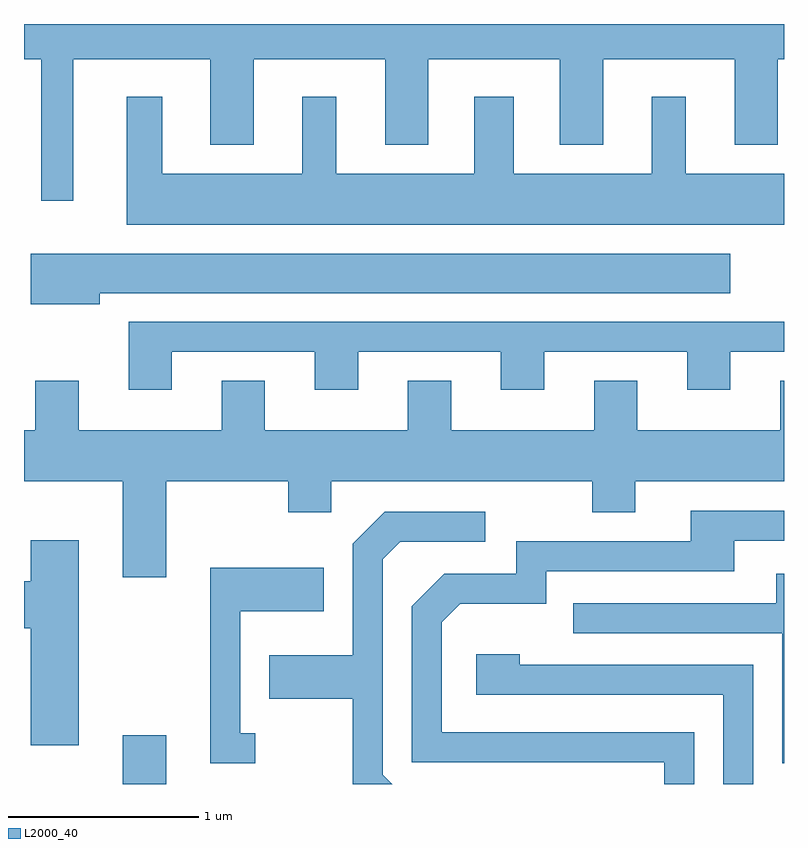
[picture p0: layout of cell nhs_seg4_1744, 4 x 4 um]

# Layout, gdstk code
import gdstk
lib = gdstk.Library(unit=1e-6, precision=1e-09)
def R(c, l, rs):  # rectangles x0, y0, x1, y1
    for r in rs: c.add(gdstk.rectangle(r[:2], r[2:], *l))
def P(c, l, *ps):  # polygons
    for p in ps: c.add(gdstk.Polygon(p, *l))
L2000_40 = (2000, 40)

nhs_seg4_1744 = lib.new_cell('nhs_seg4_1744')
R(nhs_seg4_1744, L2000_40, [(236.131,1341.982,236.359,1342.239)])
P(nhs_seg4_1744, L2000_40, [(235.869,1345.796),(236.591,1345.796),(236.591,1345.346),(236.819,1345.346),(236.819,1345.796),(237.511,1345.796),(237.511,1345.346),(237.739,1345.346),(237.739,1345.796),(238.431,1345.796),(238.431,1345.346),(238.659,1345.346),(238.659,1345.796),(239.351,1345.796),(239.351,1345.346),(239.579,1345.346),(239.579,1345.796),(239.611,1345.796),(239.611,1345.982),(235.611,1345.982),(235.611,1345.796),(235.701,1345.796),(235.701,1345.053),(235.869,1345.053)],
  [(239.611,1345.194),(239.094,1345.194),(239.094,1345.599),(238.916,1345.599),(238.916,1345.194),(238.189,1345.194),(238.189,1345.599),(237.981,1345.599),(237.981,1345.194),(237.254,1345.194),(237.254,1345.599),(237.076,1345.599),(237.076,1345.194),(236.339,1345.194),(236.339,1345.599),(236.151,1345.599),(236.151,1344.926),(239.611,1344.926)],
  [(236.009,1344.566),(239.329,1344.566),(239.329,1344.774),(235.646,1344.774),(235.646,1344.506),(236.009,1344.506)],
  [(236.389,1344.256),(237.141,1344.256),(237.141,1344.056),(237.369,1344.056),(237.369,1344.256),(238.121,1344.256),(238.121,1344.056),(238.349,1344.056),(238.349,1344.256),(239.101,1344.256),(239.101,1344.056),(239.329,1344.056),(239.329,1344.256),(239.611,1344.256),(239.611,1344.414),(236.161,1344.414),(236.161,1344.056),(236.389,1344.056)],
  [(236.359,1343.576),(237.001,1343.576),(237.001,1343.411),(237.229,1343.411),(237.229,1343.576),(238.601,1343.576),(238.601,1343.411),(238.829,1343.411),(238.829,1343.576),(239.611,1343.576),(239.611,1344.104),(239.591,1344.104),(239.591,1343.844),(238.839,1343.844),(238.839,1344.104),(238.611,1344.104),(238.611,1343.844),(237.859,1343.844),(237.859,1344.104),(237.631,1344.104),(237.631,1343.844),(236.879,1343.844),(236.879,1344.104),(236.651,1344.104),(236.651,1343.844),(235.899,1343.844),(235.899,1344.104),(235.671,1344.104),(235.671,1343.844),(235.611,1343.844),(235.611,1343.576),(236.131,1343.576),(236.131,1343.071),(236.359,1343.071)],
  [(239.139,1342.254),(237.809,1342.254),(237.809,1342.834),(237.907,1342.931),(238.359,1342.931),(238.359,1343.101),(239.349,1343.101),(239.349,1343.261),(239.611,1343.261),(239.611,1343.419),(239.121,1343.419),(239.121,1343.259),(238.201,1343.259),(238.201,1343.089),(237.824,1343.089),(237.651,1342.917),(237.651,1342.096),(238.981,1342.096),(238.981,1341.982),(239.139,1341.982)],
  [(237.499,1342.032),(237.499,1343.164),(237.592,1343.256),(238.038,1343.256),(238.038,1343.414),(237.509,1343.414),(237.341,1343.247),(237.341,1342.659),(236.901,1342.659),(236.901,1342.431),(237.341,1342.431),(237.341,1341.982),(237.549,1341.982)],
  [(235.899,1343.264),(235.646,1343.264),(235.646,1343.049),(235.611,1343.049),(235.611,1342.801),(235.646,1342.801),(235.646,1342.186),(235.899,1342.186)],
  [(236.828,1342.249),(236.749,1342.249),(236.749,1342.891),(237.189,1342.891),(237.189,1343.119),(236.591,1343.119),(236.591,1342.091),(236.828,1342.091)],
  [(239.611,1343.089),(239.571,1343.089),(239.571,1342.934),(238.503,1342.934),(238.503,1342.776),(239.601,1342.776),(239.601,1342.091),(239.611,1342.091)],
  [(239.449,1342.609),(238.219,1342.609),(238.219,1342.664),(237.991,1342.664),(237.991,1342.451),(239.291,1342.451),(239.291,1341.982),(239.449,1341.982)])

lib.write_gds('nhs_seg4_1744.gds')
